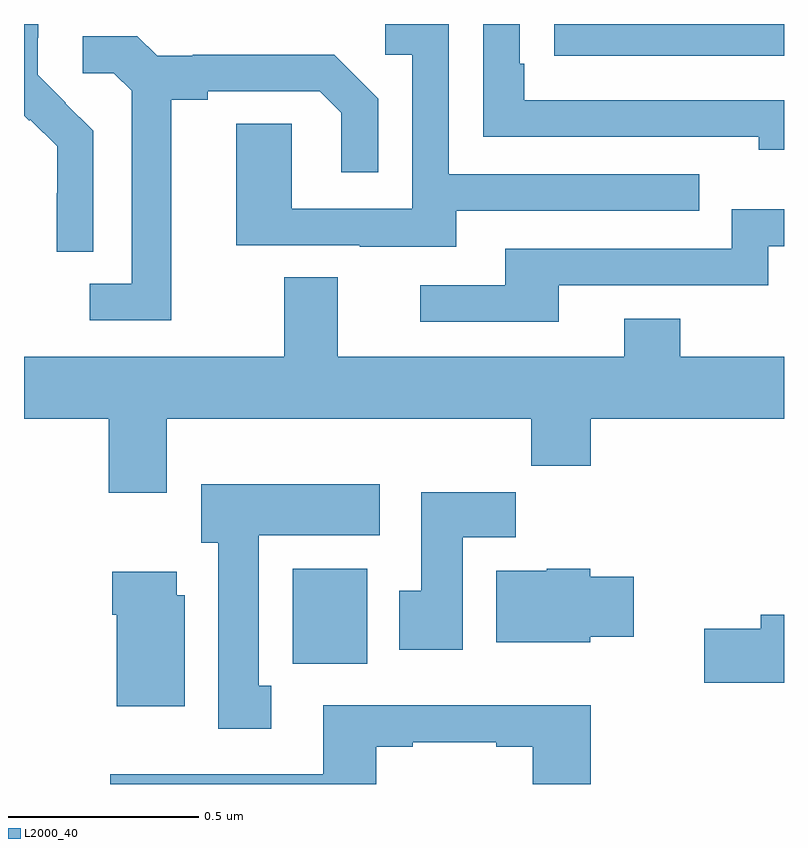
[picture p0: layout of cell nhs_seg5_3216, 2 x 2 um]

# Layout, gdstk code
import gdstk
lib = gdstk.Library(unit=1e-6, precision=1e-09)
def R(c, l, rs):  # rectangles x0, y0, x1, y1
    for r in rs: c.add(gdstk.rectangle(r[:2], r[2:], *l))
def P(c, l, *ps):  # polygons
    for p in ps: c.add(gdstk.Polygon(p, *l))
L2000_40 = (2000, 40)

nhs_seg5_3216 = lib.new_cell('nhs_seg5_3216')
R(nhs_seg5_3216, L2000_40, [(154.707,856.116,154.903,856.366)])
P(nhs_seg5_3216, L2000_40, [(155.137,857.307),(155.777,857.307),(155.777,857.403),(155.118,857.403),(155.118,857.799),(154.95,857.799),(154.95,857.718),(155.022,857.718),(155.022,857.313),(154.704,857.313),(154.704,857.537),(154.559,857.537),(154.559,857.217),(154.883,857.217),(154.883,857.213),(155.137,857.213)],
  [(156,857.799),(155.395,857.799),(155.395,857.716),(155.497,857.716),(155.497,857.715),(156,857.715)],
  [(154.182,857.518),(154.109,857.591),(154.11,857.592),(154.036,857.666),(154.036,857.763),(154.038,857.763),(154.038,857.799),(154,857.799),(154,857.558),(154.014,857.544),(154.017,857.547),(154.088,857.477),(154.088,857.354),(154.086,857.354),(154.086,857.2),(154.182,857.2)],
  [(156,857.598),(155.317,857.598),(155.317,857.695),(155.304,857.695),(155.304,857.799),(155.208,857.799),(155.208,857.502),(155.933,857.502),(155.933,857.468),(156,857.468)],
  [(154.387,857.6),(154.483,857.6),(154.483,857.622),(154.778,857.622),(154.835,857.565),(154.835,857.409),(154.932,857.409),(154.932,857.602),(154.816,857.718),(154.444,857.718),(154.444,857.715),(154.35,857.715),(154.298,857.767),(154.155,857.767),(154.155,857.67),(154.236,857.67),(154.283,857.623),(154.283,857.115),(154.173,857.115),(154.173,857.019),(154.387,857.019)],
  [(155.407,857.112),(155.958,857.112),(155.958,857.214),(156,857.214),(156,857.311),(155.862,857.311),(155.862,857.208),(155.267,857.208),(155.267,857.112),(155.043,857.112),(155.043,857.016),(155.407,857.016)],
  [(154.375,856.76),(155.335,856.76),(155.335,856.636),(155.492,856.636),(155.492,856.76),(156,856.76),(156,856.924),(155.727,856.924),(155.727,857.023),(155.579,857.023),(155.579,856.924),(154.825,856.924),(154.825,857.132),(154.685,857.132),(154.685,856.924),(154,856.924),(154,856.76),(154.223,856.76),(154.223,856.566),(154.375,856.566)],
  [(154.651,856.057),(154.618,856.057),(154.618,856.454),(154.936,856.454),(154.936,856.588),(154.466,856.588),(154.466,856.434),(154.511,856.434),(154.511,855.945),(154.651,855.945)],
  [(155.155,856.448),(155.294,856.448),(155.294,856.567),(155.045,856.567),(155.045,856.308),(154.988,856.308),(154.988,856.152),(155.155,856.152)],
  [(155.49,856.187),(155.605,856.187),(155.605,856.345),(155.49,856.345),(155.49,856.366),(155.376,856.366),(155.376,856.36),(155.243,856.36),(155.243,856.172),(155.49,856.172)],
  [(154.423,856.296),(154.402,856.296),(154.402,856.357),(154.232,856.357),(154.232,856.244),(154.244,856.244),(154.244,856.004),(154.423,856.004)],
  [(156,856.244),(155.939,856.244),(155.939,856.208),(155.79,856.208),(155.79,856.066),(156,856.066)],
  [(154.927,855.897),(155.023,855.897),(155.023,855.909),(155.243,855.909),(155.243,855.897),(155.339,855.897),(155.339,855.799),(155.492,855.799),(155.492,856.006),(154.787,856.006),(154.787,855.825),(154.227,855.825),(154.227,855.799),(154.927,855.799)])

lib.write_gds('nhs_seg5_3216.gds')
